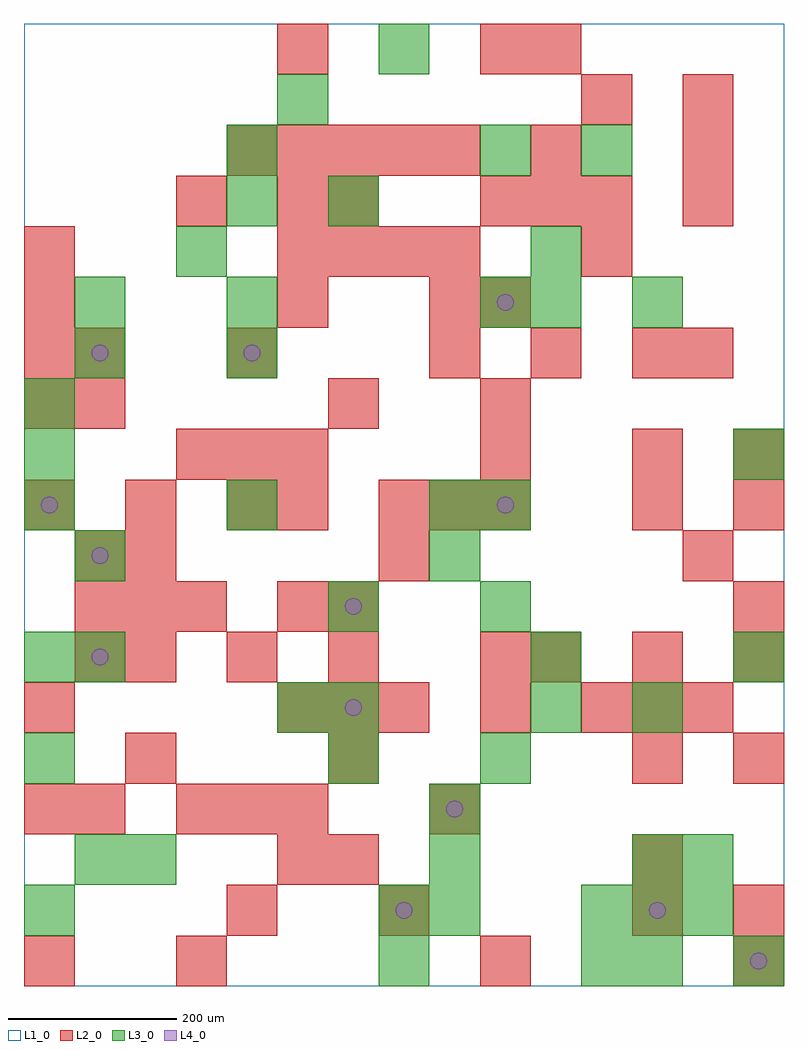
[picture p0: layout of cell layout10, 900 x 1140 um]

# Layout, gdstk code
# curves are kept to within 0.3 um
import gdstk
lib = gdstk.Library(unit=1e-6, precision=1e-09)
def R(c, l, rs):  # rectangles x0, y0, x1, y1
    for r in rs: c.add(gdstk.rectangle(r[:2], r[2:], *l))
def A(c, l, x, y, w, h, nx, ny, dx, dy):  # array of equal rectangles
    R(c, l, [(x+i*dx, y+j*dy, x+i*dx+w, y+j*dy+h) for i in range(nx) for j in range(ny)])
def P(c, l, *ps):  # polygons
    for p in ps: c.add(gdstk.Polygon(p, *l))
L1_0 = (1, 0)
L2_0 = (2, 0)
L3_0 = (3, 0)
L4_0 = (4, 0)

layout10 = lib.new_cell('layout10')
R(layout10, L1_0, [(0,0,900,1140)])
A(layout10, L2_0, 840, 60, 60, 60, 1, 3, 0, 180)
A(layout10, L2_0, 180, 180, 60, 60, 3, 2, 60, 420)
A(layout10, L2_0, 300, 300, 60, 60, 3, 1, 60, 0)
A(layout10, L2_0, 660, 300, 60, 60, 3, 1, 60, 0)
A(layout10, L2_0, 120, 360, 60, 60, 3, 1, 120, 0)
A(layout10, L2_0, 600, 360, 60, 60, 3, 1, 120, 0)
A(layout10, L2_0, 60, 420, 60, 60, 3, 1, 60, 0)
A(layout10, L2_0, 360, 420, 60, 60, 1, 3, 0, 240)
A(layout10, L2_0, 0, 540, 60, 60, 3, 1, 120, 0)
A(layout10, L2_0, 420, 540, 60, 60, 3, 1, 60, 0)
A(layout10, L2_0, 0, 660, 60, 60, 1, 4, 0, 60)
A(layout10, L2_0, 480, 720, 60, 60, 3, 1, 120, 0)
A(layout10, L2_0, 300, 840, 60, 60, 4, 1, 60, 0)
A(layout10, L2_0, 540, 900, 60, 60, 3, 1, 60, 0)
A(layout10, L2_0, 780, 900, 60, 60, 1, 3, 0, 60)
A(layout10, L2_0, 240, 960, 60, 60, 5, 1, 60, 0)
R(layout10, L2_0, [(0,0,60,60), (180,0,240,60), (540,0,600,60), (840,0,900,60), (240,60,300,120), (420,60,480,120), (720,60,780,120), (300,120,360,180), (360,120,420,180), (720,120,780,180), (0,180,60,240), (60,180,120,240), (480,180,540,240), (120,240,180,300), (360,240,420,300), (720,240,780,300), (0,300,60,360), (540,300,600,360), (60,360,120,420), (540,360,600,420), (300,420,360,480), (60,480,120,540), (120,480,180,540), (420,480,480,540), (780,480,840,540), (300,540,360,600), (720,540,780,600), (840,540,900,600), (540,600,600,660), (720,600,780,660), (840,600,900,660), (60,660,120,720), (540,660,600,720), (60,720,120,780), (240,720,300,780), (780,720,840,780), (300,780,360,840), (480,780,540,840), (540,780,600,840), (660,840,720,900), (180,900,240,960), (300,900,360,960), (600,960,660,1020), (660,1020,720,1080), (300,1080,360,1140), (540,1080,600,1140), (600,1080,660,1140)])
A(layout10, L3_0, 480, 60, 60, 60, 1, 3, 0, 60)
A(layout10, L3_0, 660, 60, 60, 60, 3, 1, 60, 0)
A(layout10, L3_0, 0, 540, 60, 60, 3, 1, 240, 0)
R(layout10, L3_0, [(420,0,480,60), (660,0,720,60), (720,0,780,60), (840,0,900,60), (0,60,60,120), (420,60,480,120), (60,120,120,180), (120,120,180,180), (720,120,780,180), (780,120,840,180), (0,240,60,300), (360,240,420,300), (540,240,600,300), (300,300,360,360), (360,300,420,360), (600,300,660,360), (720,300,780,360), (0,360,60,420), (60,360,120,420), (600,360,660,420), (840,360,900,420), (360,420,420,480), (540,420,600,480), (60,480,120,540), (480,480,540,540), (540,540,600,600), (0,600,60,660), (840,600,900,660), (0,660,60,720), (60,720,120,780), (240,720,300,780), (60,780,120,840), (240,780,300,840), (540,780,600,840), (600,780,660,840), (720,780,780,840), (180,840,240,900), (600,840,660,900), (240,900,300,960), (360,900,420,960), (240,960,300,1020), (540,960,600,1020), (660,960,720,1020), (300,1020,360,1080), (420,1080,480,1140)])
P(layout10, L4_0, [(40,570),(39.239,573.827),(37.071,577.071),(33.827,579.239),(30,580),(26.173,579.239),(22.929,577.071),(20.761,573.827),(20,570),(20.761,566.173),(22.929,562.929),(26.173,560.761),(30,560),(33.827,560.761),(37.071,562.929),(39.239,566.173)],
  [(100,390),(99.239,393.827),(97.071,397.071),(93.827,399.239),(90,400),(86.173,399.239),(82.929,397.071),(80.761,393.827),(80,390),(80.761,386.173),(82.929,382.929),(86.173,380.761),(90,380),(93.827,380.761),(97.071,382.929),(99.239,386.173)],
  [(100,510),(99.239,513.827),(97.071,517.071),(93.827,519.239),(90,520),(86.173,519.239),(82.929,517.071),(80.761,513.827),(80,510),(80.761,506.173),(82.929,502.929),(86.173,500.761),(90,500),(93.827,500.761),(97.071,502.929),(99.239,506.173)],
  [(100,750),(99.239,753.827),(97.071,757.071),(93.827,759.239),(90,760),(86.173,759.239),(82.929,757.071),(80.761,753.827),(80,750),(80.761,746.173),(82.929,742.929),(86.173,740.761),(90,740),(93.827,740.761),(97.071,742.929),(99.239,746.173)],
  [(280,750),(279.239,753.827),(277.071,757.071),(273.827,759.239),(270,760),(266.173,759.239),(262.929,757.071),(260.761,753.827),(260,750),(260.761,746.173),(262.929,742.929),(266.173,740.761),(270,740),(273.827,740.761),(277.071,742.929),(279.239,746.173)],
  [(400,330),(399.239,333.827),(397.071,337.071),(393.827,339.239),(390,340),(386.173,339.239),(382.929,337.071),(380.761,333.827),(380,330),(380.761,326.173),(382.929,322.929),(386.173,320.761),(390,320),(393.827,320.761),(397.071,322.929),(399.239,326.173)],
  [(400,450),(399.239,453.827),(397.071,457.071),(393.827,459.239),(390,460),(386.173,459.239),(382.929,457.071),(380.761,453.827),(380,450),(380.761,446.173),(382.929,442.929),(386.173,440.761),(390,440),(393.827,440.761),(397.071,442.929),(399.239,446.173)],
  [(460,90),(459.239,93.827),(457.071,97.071),(453.827,99.239),(450,100),(446.173,99.239),(442.929,97.071),(440.761,93.827),(440,90),(440.761,86.173),(442.929,82.929),(446.173,80.761),(450,80),(453.827,80.761),(457.071,82.929),(459.239,86.173)],
  [(520,210),(519.239,213.827),(517.071,217.071),(513.827,219.239),(510,220),(506.173,219.239),(502.929,217.071),(500.761,213.827),(500,210),(500.761,206.173),(502.929,202.929),(506.173,200.761),(510,200),(513.827,200.761),(517.071,202.929),(519.239,206.173)],
  [(580,570),(579.239,573.827),(577.071,577.071),(573.827,579.239),(570,580),(566.173,579.239),(562.929,577.071),(560.761,573.827),(560,570),(560.761,566.173),(562.929,562.929),(566.173,560.761),(570,560),(573.827,560.761),(577.071,562.929),(579.239,566.173)],
  [(580,810),(579.239,813.827),(577.071,817.071),(573.827,819.239),(570,820),(566.173,819.239),(562.929,817.071),(560.761,813.827),(560,810),(560.761,806.173),(562.929,802.929),(566.173,800.761),(570,800),(573.827,800.761),(577.071,802.929),(579.239,806.173)],
  [(760,90),(759.239,93.827),(757.071,97.071),(753.827,99.239),(750,100),(746.173,99.239),(742.929,97.071),(740.761,93.827),(740,90),(740.761,86.173),(742.929,82.929),(746.173,80.761),(750,80),(753.827,80.761),(757.071,82.929),(759.239,86.173)],
  [(880,30),(879.239,33.827),(877.071,37.071),(873.827,39.239),(870,40),(866.173,39.239),(862.929,37.071),(860.761,33.827),(860,30),(860.761,26.173),(862.929,22.929),(866.173,20.761),(870,20),(873.827,20.761),(877.071,22.929),(879.239,26.173)])

lib.write_gds('layout10.gds')
